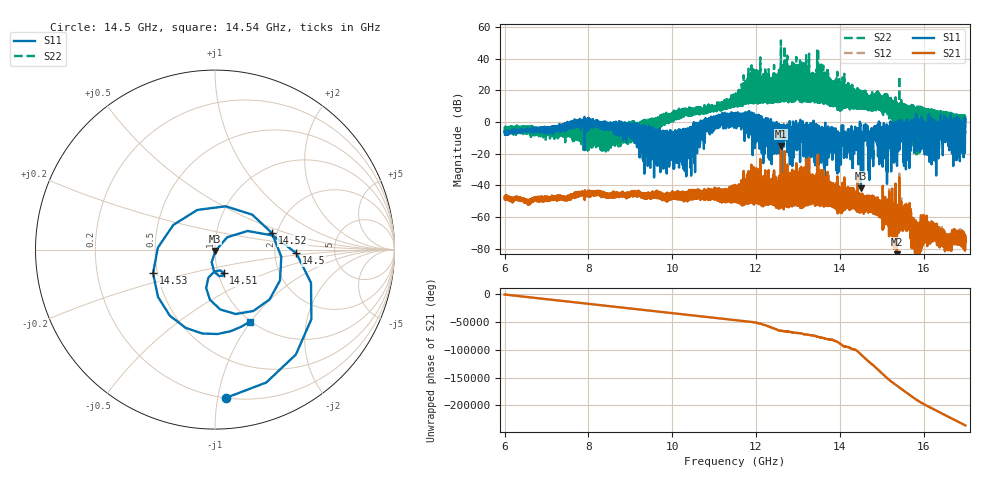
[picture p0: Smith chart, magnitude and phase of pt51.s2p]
#  HZ  S  RI  R  50.00
! Rohde & Schwarz Vector Network Analyzer
! Rohde-Schwarz,ZNA67-2Port,1332450062101215,3.01
! Created: UTC 10/16/2026, 9:52:01 AM
! freq[Hz]  re:S11  im:S11  re:S21  im:S21  re:S12  im:S12  re:S22  im:S22
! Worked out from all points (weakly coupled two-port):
!   11001 points, 6 GHz to 17 GHz, reference 50 ohm
!   highest |S21| = -15.24 dB at 12.6 GHz (marker M1); lowest = -84.2 dB at 15.37 GHz (marker M2)
!   lowest |S11| = -42.0 dB at 14.51 GHz (marker M3), VSWR 1.02, Z = 50.2 - j0.767 ohm
!   |S11| at or under -10 dB: 13.98385 GHz to 14.03266 GHz (48.81 MHz wide, 0.348 % of centre); 14.16347 GHz to 14.19007 GHz (26.6 MHz wide, 0.188 % of centre); 14.28806 GHz to 14.3176 GHz (29.54 MHz wide, 0.207 % of centre) (the widest 3 of 420)
!   |S22| runs from -22.1 to 51.5 dB; largest |S21 - S12| = 0.036
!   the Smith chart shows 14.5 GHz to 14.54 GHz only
!   S11 on the Smith chart (normalised r, x): 14.5 GHz: 0.20, -1.06; 14.5 GHz: 2.65, -0.14; 14.51 GHz: 1.06, -0.28; 14.52 GHz: 1.88, +0.39; 14.53 GHz: 0.47, -0.14; 14.54 GHz: 0.99, -0.99
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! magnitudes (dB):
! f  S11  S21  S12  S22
! 6 GHz  -6.4  -47.4  -47.4  -5.5
! 7.834 GHz  0.2  -44.9  -44.8  -7.4
! 9.667 GHz  -5.8  -45.8  -45.9  1.1
! 10.37 GHz  -5.7  -48.5  -48.5  5.7
! 11.5 GHz  5.4  -47.8  -47.7  10.9
! 12.6 GHz  -9.1  -15.2  -15.3  51.5
! 13.33 GHz  -15.8  -47.8  -47.6  16.4
! 13.97 GHz  -31.6  -54.0  -54.2  10.9
! 14.09 GHz  -4.5  -51.5  -51.6  12.8
! 14.5 GHz  -1.6  -46.2  -46.3  19.7
! 14.5 GHz  -6.9  -54.5  -54.5  12.9
! 14.51 GHz  -42.0  -55.0  -55.1  9.4
! 14.51 GHz  -17.2  -53.6  -53.6  11.8
! 14.52 GHz  -9.6  -53.1  -52.5  11.2
! 14.53 GHz  -8.7  -56.9  -56.8  9.1
! 14.54 GHz  -7.0  -52.5  -52.7  13.6
! 15.17 GHz  -5.7  -61.2  -60.7  5.5
! 15.37 GHz  -8.7  -84.2  -84.2  -0.3
! 15.62 GHz  -0.4  -60.5  -59.6  2.8
! 15.88 GHz  -1.7  -66.8  -66.9  7.3
! 16.9 GHz  -12.1  -69.8  -68.4  4.3
! 17 GHz  1.6  -76.0  -75.4  1.9
